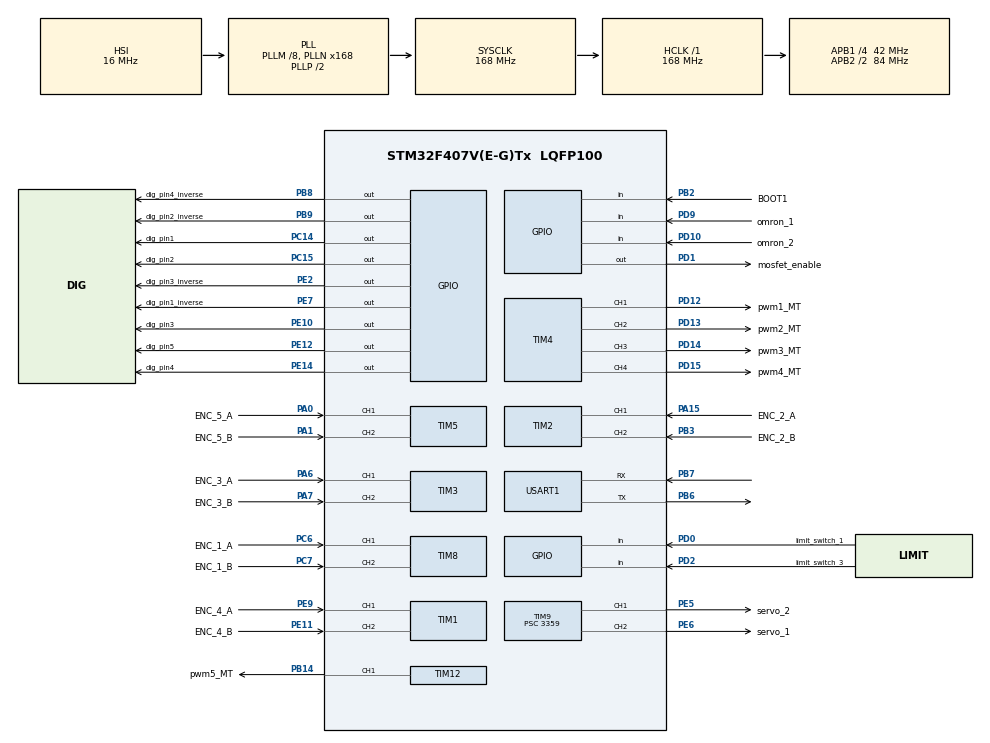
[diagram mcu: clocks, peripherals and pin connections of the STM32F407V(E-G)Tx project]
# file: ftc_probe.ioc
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Dma.Request0=USART1_RX
Dma.USART1_RX.0.Direction=DMA_PERIPH_TO_MEMORY
Dma.USART1_RX.0.FIFOMode=DMA_FIFOMODE_DISABLE
Dma.USART1_RX.0.Instance=DMA2_Stream2
Dma.USART1_RX.0.MemDataAlignment=DMA_MDATAALIGN_BYTE
Dma.USART1_RX.0.MemInc=DMA_MINC_ENABLE
Dma.USART1_RX.0.Mode=DMA_CIRCULAR
Dma.USART1_RX.0.PeriphDataAlignment=DMA_PDATAALIGN_BYTE
Dma.USART1_RX.0.PeriphInc=DMA_PINC_DISABLE
Dma.USART1_RX.0.Priority=DMA_PRIORITY_LOW
Mcu.Family=STM32F4
Mcu.Name=STM32F407V(E-G)Tx
Mcu.Package=LQFP100
NVIC.DMA2_Stream2_IRQn=true\:0\:0\:false\:false\:true\:false\:true\:true
NVIC.PriorityGroup=NVIC_PRIORITYGROUP_0
NVIC.TIM6_DAC_IRQn=true\:0\:0\:false\:false\:true\:true\:true\:true
NVIC.TIM7_IRQn=true\:0\:1\:true\:false\:true\:true\:true\:true
NVIC.USART1_IRQn=true\:0\:0\:false\:false\:true\:true\:true\:true
PA0-WKUP.GPIO_Label=ENC_5_A
PA0-WKUP.Signal=S_TIM5_CH1
PA1.GPIO_Label=ENC_5_B
PA1.Signal=S_TIM5_CH2
PA10.GPIO_Label=OTG_FS_ID
PA10.GPIO_Mode=GPIO_MODE_AF_PP
PA10.GPIO_PuPd=GPIO_NOPULL
PA10.GPIO_Speed=GPIO_SPEED_FREQ_LOW
PA10.Signal=USB_OTG_FS_ID
PA11.GPIO_Label=OTG_FS_DM
PA11.GPIO_Mode=GPIO_MODE_AF_PP
PA11.GPIO_PuPd=GPIO_NOPULL
PA11.GPIO_Speed=GPIO_SPEED_FREQ_LOW
PA11.Signal=USB_OTG_FS_DM
PA12.GPIO_Label=OTG_FS_DP
PA12.GPIO_Mode=GPIO_MODE_AF_PP
PA12.GPIO_PuPd=GPIO_NOPULL
PA12.GPIO_Speed=GPIO_SPEED_FREQ_LOW
PA12.Signal=USB_OTG_FS_DP
PA13.Signal=SYS_JTMS-SWDIO
PA14.GPIO_Label=SWCLK
PA14.Signal=SYS_JTCK-SWCLK
PA15.GPIO_Label=ENC_2_A
PA15.GPIO_PuPd=GPIO_PULLUP
PA15.Signal=S_TIM2_CH1_ETR
PA6.GPIO_Label=ENC_3_A
PA6.GPIO_PuPd=GPIO_PULLUP
PA6.Signal=S_TIM3_CH1
PA7.GPIO_Label=ENC_3_B
PA7.GPIO_PuPd=GPIO_PULLUP
PA7.Signal=S_TIM3_CH2
PA9.GPIO_Label=VBUS_FS
PA9.GPIO_Mode=GPIO_MODE_INPUT
PA9.GPIO_PuPd=GPIO_NOPULL
PA9.Signal=USB_OTG_FS_VBUS
PB14.GPIO_Label=pwm5_MT
PB14.Signal=S_TIM12_CH1
PB2.GPIO_Label=BOOT1
PB2.GPIO_Mode=GPIO_MODE_INPUT
PB2.GPIO_PuPd=GPIO_NOPULL
PB2.Signal=GPIO_Input
PB3.GPIO_Label=ENC_2_B
PB3.GPIO_PuPd=GPIO_PULLUP
PB3.Signal=S_TIM2_CH2
PB6.Mode=Asynchronous
PB6.Signal=USART1_TX
PB7.Mode=Asynchronous
PB7.Signal=USART1_RX
PB8.GPIO_Label=dig_pin4_inverse
PB8.GPIO_PuPd=GPIO_PULLUP
PB8.Signal=GPIO_Output
PB9.GPIO_Label=dig_pin2_inverse
PB9.GPIO_PuPd=GPIO_PULLUP
PB9.Signal=GPIO_Output
PC14-OSC32_IN.GPIO_Label=dig_pin1
PC14-OSC32_IN.GPIO_PuPd=GPIO_PULLUP
PC14-OSC32_IN.Signal=GPIO_Output
PC15-OSC32_OUT.GPIO_Label=dig_pin2
PC15-OSC32_OUT.GPIO_PuPd=GPIO_PULLUP
PC15-OSC32_OUT.Signal=GPIO_Output
PC6.GPIO_Label=ENC_1_A
PC6.GPIO_PuPd=GPIO_PULLUP
PC6.Signal=S_TIM8_CH1
PC7.GPIO_Label=ENC_1_B
PC7.GPIO_PuPd=GPIO_PULLUP
PC7.Signal=S_TIM8_CH2
PD0.GPIO_Label=limit_switch_1
PD0.GPIO_PuPd=GPIO_PULLDOWN
PD0.Signal=GPIO_Input
PD1.GPIO_Label=mosfet_enable
PD1.GPIO_PuPd=GPIO_PULLUP
PD1.Signal=GPIO_Output
PD10.GPIO_Label=omron_2
PD10.GPIO_PuPd=GPIO_PULLUP
PD10.Signal=GPIO_Input
PD12.GPIO_Label=pwm1_MT
PD12.GPIO_PuPd=GPIO_PULLUP
PD12.Signal=S_TIM4_CH1
PD13.GPIO_Label=pwm2_MT
PD13.GPIO_PuPd=GPIO_PULLUP
PD13.Signal=S_TIM4_CH2
PD14.GPIO_Label=pwm3_MT
PD14.GPIO_PuPd=GPIO_PULLUP
PD14.Signal=S_TIM4_CH3
PD15.GPIO_Label=pwm4_MT
PD15.GPIO_PuPd=GPIO_PULLUP
PD15.Signal=S_TIM4_CH4
PD2.GPIO_Label=limit_switch_3
PD2.GPIO_PuPd=GPIO_PULLDOWN
PD2.Signal=GPIO_Input
PD9.GPIO_Label=omron_1
PD9.GPIO_PuPd=GPIO_PULLUP
PD9.Signal=GPIO_Input
PE10.GPIO_Label=dig_pin3
PE10.GPIO_PuPd=GPIO_PULLUP
PE10.Signal=GPIO_Output
PE11.GPIO_Label=ENC_4_B
PE11.GPIO_PuPd=GPIO_PULLUP
PE11.Signal=S_TIM1_CH2
PE12.GPIO_Label=dig_pin5
PE12.Signal=GPIO_Output
PE14.GPIO_Label=dig_pin4
PE14.GPIO_PuPd=GPIO_PULLUP
PE14.Signal=GPIO_Output
PE2.GPIO_Label=dig_pin3_inverse
PE2.GPIO_PuPd=GPIO_PULLUP
PE2.Signal=GPIO_Output
PE5.GPIO_Label=servo_2
PE5.GPIO_PuPd=GPIO_PULLUP
PE5.Signal=S_TIM9_CH1
PE6.GPIO_Label=servo_1
PE6.GPIO_PuPd=GPIO_PULLUP
PE6.Signal=S_TIM9_CH2
PE7.GPIO_Label=dig_pin1_inverse
PE7.GPIO_PuPd=GPIO_PULLUP
PE7.Signal=GPIO_Output
PE9.GPIO_Label=ENC_4_A
PE9.GPIO_PuPd=GPIO_PULLUP
PE9.Signal=S_TIM1_CH1
PH0-OSC_IN.Mode=HSE-External-Oscillator
PH0-OSC_IN.Signal=RCC_OSC_IN
PH1-OSC_OUT.Mode=HSE-External-Oscillator
PH1-OSC_OUT.Signal=RCC_OSC_OUT
ProjectManager.HeapSize=0x200
ProjectManager.StackSize=0x400
ProjectManager.TargetToolchain=STM32CubeIDE
RCC.48MHZClocksFreq_Value=48000000
RCC.AHBFreq_Value=168000000
RCC.APB1CLKDivider=RCC_HCLK_DIV4
RCC.APB1Freq_Value=42000000
RCC.APB1TimFreq_Value=84000000
RCC.APB2CLKDivider=RCC_HCLK_DIV2
RCC.APB2Freq_Value=84000000
RCC.APB2TimFreq_Value=168000000
RCC.CortexFreq_Value=168000000
RCC.HCLKFreq_Value=168000000
RCC.HSE_VALUE=8000000
RCC.HSI_VALUE=16000000
RCC.LSE_VALUE=32768
RCC.PLLM=8
RCC.PLLN=168
RCC.PLLQ=7
RCC.SYSCLKFreq_VALUE=168000000
RCC.SYSCLKSource=RCC_SYSCLKSOURCE_PLLCLK
RCC.VCOOutputFreq_Value=336000000
SH.S_TIM12_CH1.0=TIM12_CH1,PWM Generation1 CH1
SH.S_TIM1_CH1.0=TIM1_CH1,Encoder_Interface
SH.S_TIM1_CH2.0=TIM1_CH2,Encoder_Interface
SH.S_TIM2_CH1_ETR.0=TIM2_CH1,Encoder_Interface
SH.S_TIM2_CH2.0=TIM2_CH2,Encoder_Interface
SH.S_TIM3_CH1.0=TIM3_CH1,Encoder_Interface
SH.S_TIM3_CH2.0=TIM3_CH2,Encoder_Interface
SH.S_TIM4_CH1.0=TIM4_CH1,PWM Generation1 CH1
SH.S_TIM4_CH2.0=TIM4_CH2,PWM Generation2 CH2
SH.S_TIM4_CH3.0=TIM4_CH3,PWM Generation3 CH3
SH.S_TIM4_CH4.0=TIM4_CH4,PWM Generation4 CH4
SH.S_TIM5_CH1.0=TIM5_CH1,Encoder_Interface
SH.S_TIM5_CH2.0=TIM5_CH2,Encoder_Interface
SH.S_TIM8_CH1.0=TIM8_CH1,Encoder_Interface
SH.S_TIM8_CH2.0=TIM8_CH2,Encoder_Interface
SH.S_TIM9_CH1.0=TIM9_CH1,PWM Generation1 CH1
SH.S_TIM9_CH2.0=TIM9_CH2,PWM Generation2 CH2
TIM10.Period=39999
TIM10.Prescaler=90
TIM11.Period=39999
TIM11.Prescaler=90
TIM12.Channel-PWM\ Generation1\ CH1=TIM_CHANNEL_1
TIM4.Channel-PWM\ Generation1\ CH1=TIM_CHANNEL_1
TIM4.Channel-PWM\ Generation2\ CH2=TIM_CHANNEL_2
TIM4.Channel-PWM\ Generation3\ CH3=TIM_CHANNEL_3
TIM4.Channel-PWM\ Generation4\ CH4=TIM_CHANNEL_4
TIM6.Period=39999
TIM6.Prescaler=21
TIM7.Period=8399
TIM7.Prescaler=10
TIM9.Channel-PWM\ Generation1\ CH1=TIM_CHANNEL_1
TIM9.Channel-PWM\ Generation2\ CH2=TIM_CHANNEL_2
TIM9.Period=999
TIM9.Prescaler=3359
USART1.VirtualMode=VM_ASYNC
VP_TIM10_VS_ClockSourceINT.Mode=Enable_Timer
VP_TIM11_VS_ClockSourceINT.Mode=Enable_Timer
VP_TIM6_VS_ClockSourceINT.Mode=Enable_Timer
VP_TIM7_VS_ClockSourceINT.Mode=Enable_Timer
board=STM32F407G-DISC1

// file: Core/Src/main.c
/* USER CODE BEGIN Header */
/**
 ******************************************************************************
 * @file           : main.c
 * @brief          : Main program body
 ******************************************************************************
 * @attention
 *
 * Copyright (c) 2023 STMicroelectronics.
 * All rights reserved.
 *
 * This software is licensed under terms that can be found in the LICENSE file
 * in the root directory of this software component.
 * If no LICENSE file comes with this software, it is provided AS-IS.
 *
 ******************************************************************************
 */
/* USER CODE END Header */
#include "main.h"
#include "dma.h"
#include "tim.h"
#include "usart.h"
#include "gpio.h"

/* USER CODE BEGIN Includes */
#include <stdbool.h>
#include <string.h>
#include <math.h>

#define DEF_PAD_DATA "0a255255255255/0b0000000000000000000/a255255255255/0b000000000000000000/\r"
#define UART_TIMEOUT 300
/* USER CODE END Includes */

/* USER CODE BEGIN PV */

PID Wheel_1;
PID Wheel_2;
PID Wheel_3;
PID Wheel_4;
PID Chain_motor;

float constatnts_test[1][3] = { { 0.1, 0.1, 0.1 }

};
float robot_matrix[3][4] = { { 1.0, 1.0, 1.0, 1.0 }, { -1.0, 1.0, -1.0, 1.0 }, {
		0.32, -0.32, -0.32, 0.32 } };
float axes_robot_matrix_inverse[4][3] = { { 0.25, -0.25, 0.78125 }, { 0.25,
		0.25, -0.78125 }, { 0.25, -0.25, -0.78125 }, { 0.25, 0.25, 0.78125 } };
float target_speed[3] = { 0.0, 0.0, 0.0 };
float speed_wheels[4] = { 0.0, 0.0, 0.0, 0.0, };
float axes_robot_matrix_transpone[3][3];
float mov_axes[3];
float now_speead[3];
float read_speed[4];
float robot_speed[3];
float delta_fi;
float speed_U;
float speed_V;
float speed_W;
float quest_xy[1][3];
float quest_UV[1][3];
float convert_xy_UV[3][3];
float inverse_converte_xy_UV[3][3];
float gipotinus;
float V = 0.05;
float W = 0.1;
float quest_FI;
float mot_grab = 0.0;
float distante;
float mot_1;
float mot_2;
float mot_3;
float mot_4;

uint8_t znamya_position;
uint8_t position = 0;
uint32_t posik = 90;
uint32_t posik_small = 55;
uint32_t posik1 = 90;
uint32_t posik_2 = 10;
uint8_t flag = 0;
bool flag_onesd = 1;
uint8_t flag_old = 0;
uint8_t flag_move_end = 0;
uint8_t flag_compleate = 0;
uint32_t autonom_timer = 0;

/* USER CODE END PV */

void SystemClock_Config(void);

/* USER CODE BEGIN 0 */

void falg_controler(void){
	if((!((flag_onesd == 0)&&(flag_move_end ==0)))&&(flag_compleate == 1)){
		flag++;

	}

	if(flag_old != flag){
		flag_old = flag;
		flag_onesd = 1;
		flag_move_end = 0;
		flag_compleate = 0;
	}

}
void state_timer(float tim){

	if(state_flag > tim){
		flag_compleate = 1;
		state_flag = 0.0;
	}

}
void set_voltage_chain(float position){
	if(-0.35 != metr_chain )set_voltage(4,mot_grab);
	if(distante < 0)set_voltage(4,-mot_grab);
}
void omron(uint8_t robot_position) { /*robot_position = 0 left , robot_position = 1 right*/
	if (robot_position == 0) { /*left robot position on place*/
		if (HAL_GPIO_ReadPin(GPIOD, GPIO_PIN_3) == GPIO_PIN_SET) { //left_omron
			znamya_position = 1;
		} else if (HAL_GPIO_ReadPin(GPIOE, GPIO_PIN_4) == GPIO_PIN_SET) { //right_omron
			znamya_position = 2;
		} else
			znamya_position = 3;

	} else { /*right robot position on place*/
		if (HAL_GPIO_ReadPin(GPIOD, GPIO_PIN_3) == GPIO_PIN_SET) { //left_omron
			znamya_position = 2;
		}

		else if (HAL_GPIO_ReadPin(GPIOE, GPIO_PIN_4) == GPIO_PIN_SET) { //right_omron
			znamya_position = 3;
		} else
			znamya_position = 1;
	}

}
typedef struct switches {
	bool mid_switch;
	bool down_switch;
	bool up_switch;
} switches;
switches switch_c;
void check_switches() {

	switch_c.mid_switch =
			(HAL_GPIO_ReadPin(GPIOD, GPIO_PIN_2) == GPIO_PIN_SET) ? 1 : 0;
	switch_c.down_switch =
			(HAL_GPIO_ReadPin(GPIOD, GPIO_PIN_1) == GPIO_PIN_SET) ? 1 : 0;
	switch_c.up_switch =
			(HAL_GPIO_ReadPin(GPIOD, GPIO_PIN_0) == GPIO_PIN_SET) ? 1 : 0;
}
void chain_control(int pos) {

	static int flag = -1;

	if (pos == flag) {
		set_voltage_chain(0.5);
		return;
	}

	switch (pos) { //0-down, 1-mid, 2-up
	case (0):
		if (!switch_c.down_switch) {
			set_voltage_chain(mot_grab);
		} else {
			flag = 0;
			set_voltage_chain(0);
		}
		break;
	case (1):
		if (!switch_c.mid_switch) {
			if (flag == 0) {
				set_voltage_chain(-mot_grab);
			} else {
				set_voltage_chain(mot_grab);
			}
			if (switch_c.up_switch && flag == 0) {
				flag = 2;
				set_voltage_chain(mot_grab);
			}
			if (switch_c.down_switch && flag == 2) {
				flag = 0;
				set_voltage_chain(-mot_grab);
			}
		} else {
			flag = 1;
			set_voltage_chain(0);
		}
		break;
	case (2):
		if (!switch_c.up_switch) {
			set_voltage_chain(-mot_grab);
		} else {
			flag = 2;

		}

	}

//
//	if(switch_c.up_switch){
//		mot_1 =
//	}
//	if(switch_c.down_switch){
//		set_voltage_chain(mot_1);
//	}
//	set_voltage_chain(mot_1);

}
void servo_control(uint8_t servo, uint8_t position) { /*position = 0 open , position = 1 close*/
	switch (servo) {
	case 0:
		if (position == 0) {
			TIM9->CCR1 = 30 + 0.5 * 90;
		} else {
			TIM9->CCR1 = 30 + 0.5 * 43;
		}
		break;
	case 1:
		if (position == 0) {
			TIM9->CCR2 = 30 + 0.5 * 120;
		} else {
			TIM9->CCR2 = 30 + 0.5 * 30;
		}
		break;
	}
}
void switch_lim(uint8_t pos) {
	switch (pos) {
	case (1):
		while (switch_c.down_switch != 1) {
			check_switches();
			position = 0;
			chain_control(0);
			Wheel_1.target = 0;
			Wheel_2.target = 0;
			Wheel_3.target = 0;
			Wheel_4.target = 0;
		}
		break;
	case (2):
		while (switch_c.mid_switch != 1) {
			check_switches();
			position = 1;
			chain_control(1);
			Wheel_1.target = 0;
			Wheel_2.target = 0;
			Wheel_3.target = 0;
			Wheel_4.target = 0;

		}
		break;
	case (3):
		position = 2;
		while (switch_c.up_switch != 1) {
			check_switches();
			pos = 2;
			chain_control(2);
			Wheel_1.target = 0;
			Wheel_2.target = 0;
			Wheel_3.target = 0;
			Wheel_4.target = 0;
		}
		break;

	}
}
void Move_robot_coordinates_X_Y_W(float speed_v, float speed_w, float x_target,float y_target, float fi_target) {
	if(flag_move_end == 0 ){
	if(flag_onesd == 1){
	V = speed_v;
	W = speed_w;
	quest_xy[0][0] = x_target;
	quest_xy[0][1] = y_target;
	quest_FI = fi_target;
	convert_xy_UV[0][0] = cos(fi);
	convert_xy_UV[0][1] = sin(fi);
	convert_xy_UV[0][2] = 0;
	convert_xy_UV[1][0] = -sin(fi);
	convert_xy_UV[1][1] = cos(fi);
	convert_xy_UV[1][2] = 0;
	convert_xy_UV[2][0] = position_x;
	convert_xy_UV[2][1] = position_y;
	convert_xy_UV[2][2] = 1;
	matrixInverse(&convert_xy_UV[0][0], 3, &inverse_converte_xy_UV[0][0]);
	matrixMultiplyM2M(&quest_xy[0][0], 1, 3, &inverse_converte_xy_UV[0][0], 3,
			3, &quest_UV[0][0]);
	gipotinus = sqrtf(
			(quest_UV[0][0] * quest_UV[0][0])
					+ (quest_UV[0][1] * quest_UV[0][1]));
	distante = gipotinus;
//	if (fi >= (2 * pi))
//		fi = fi - 2 * pi;
//	if (fi < 0.0)
//		fi = fi + 2 * pi;
//	if (quest_FI > fi) {
//		if ((quest_FI - fi) > pi) {
//			delta_fi = (2 * pi - quest_FI + fi);
//			flaging = 1;
//		} else {
//
//			delta_fi = (quest_FI - fi);
//			flaging = 2;
//		}
//
//	} else {
//		if ((fi - quest_FI) > pi) {
//			flaging = 3;
//			delta_fi = 2 * pi - fi + quest_FI;
//			;
//
//		} else {
//			flaging = 4;
//			delta_fi = fi - quest_FI;
//		}
//	}

	flag_onesd = 0;
	}
	else{
		if (((gipotinus >= 0.005) || delta_fi >= 0.02)) {
			convert_xy_UV[0][0] = cos(fi);
			convert_xy_UV[0][1] = sin(fi);
			convert_xy_UV[0][2] = 0;
			convert_xy_UV[1][0] = -sin(fi);
			convert_xy_UV[1][1] = cos(fi);
			convert_xy_UV[1][2] = 0;
			convert_xy_UV[2][0] = position_x;
			convert_xy_UV[2][1] = position_y;
			convert_xy_UV[2][2] = 1;
			matrixInverse(&convert_xy_UV[0][0], 3, &inverse_converte_xy_UV[0][0]);
			matrixMultiplyM2M(&quest_xy[0][0], 1, 3, &inverse_converte_xy_UV[0][0],
					3, 3, &quest_UV[0][0]);
			gipotinus = sqrtf(
					(quest_UV[0][0] * quest_UV[0][0])
							+ (quest_UV[0][1] * quest_UV[0][1]));
			if (gipotinus > 0.005) {
				if (gipotinus < 0.15) {
					target_speed[0] = quest_UV[0][0] / gipotinus * V
							* (0.4 + (0.6 * gipotinus) / 0.25);
					target_speed[1] = quest_UV[0][1] / gipotinus * V
							* (0.4 + (0.6 * gipotinus) / 0.25);
				} else if (distante - gipotinus < 0.15) {

					target_speed[0] = quest_UV[0][0] / gipotinus * V
							* (0.4 + (0.6 * (distante - gipotinus)) / 0.25);
					target_speed[1] = quest_UV[0][1] / gipotinus * V
							* (0.4 + (0.6 * (distante - gipotinus)) / 0.25);

				} else {
					target_speed[0] = quest_UV[0][0] / gipotinus * V;
					target_speed[1] = quest_UV[0][1] / gipotinus * V;
				}
			} else {
				target_speed[0] = 0.0;
				target_speed[1] = 0.0;
			}
			if (delta_fi > 0.02) {
				switch (flaging) {
				case (1):{
					target_speed[2] = W;
					break;
				}
				case (2):{
					target_speed[2] = -W;
					break;
				}
				case (3):{
					target_speed[2] = -W;
					break;
				}

				case (4):{
					target_speed[2] = W;
					break;
				}
				}

			} else
				target_speed[2] = 0.0;

			matrixMultiplyM2M(&target_speed[0], 1, 3, &robot_matrix[0][0], 3, 4,
					&speed_wheels[0]);
			now_speead[0] = result_speed_1;
			now_speead[1] = result_speed_2;
			now_speead[2] = result_speed_3;
			read_speed[0] = result_speed_0;
			read_speed[1] = result_speed_1;
			read_speed[2] = result_speed_2;
			read_speed[3] = result_speed_3;
			matrixMultiplyM2M(&read_speed[0], 1, 4,
					&axes_robot_matrix_inverse[0][0], 4, 3, &robot_speed[0]);

			Wheel_1.target = speed_wheels[0];
			Wheel_2.target = speed_wheels[1];
			Wheel_3.target = speed_wheels[2];
			Wheel_4.target = speed_wheels[3];
			speed_U = robot_speed[0];
			speed_V = robot_speed[1];
			speed_W = robot_speed[2];

		}
		else{
			flag_move_end = 1;
				speed_U = 0;
		speed_V = 0;
		speed_W = 0;
		Wheel_1.target = 0;
		Wheel_2.target = 0;
		Wheel_3.target = 0;
		Wheel_4.target = 0;
		}
	}

	}

}
typedef struct gamepad {
	int axes[4];
	bool buttons[20];
} gamepad;
gamepad pads[2];
uint8_t rx_data[1];
uint8_t temp_data[100];
char data[100];
uint8_t size_data = 0;
uint8_t ind_data = 0;
bool write_data = 0;
uint8_t check_sum;
uint32_t timer = 0;
float move_axes[4];
void convertData(char *data) {
	bool now; // 1 - axes, 0 - buttons
	uint8_t pad;
	if (!(data[1] == 'a' || data[1] == 'b' || data[size_data - 1] == '\r')) {
		return;
	}
	for (int i = 1; data[i] != '\r'; i++) {
		if (data[i] == '\r')
			break;
		if (data[i] == 'a' || data[i] == 'b') {
			now = data[i] == 'a' ? 1 : 0;
			pad = data[i - 1] - 48;
			continue;
		}
		for (int j = 0; data[i - 1] != '/';) {
			if (data[i] == '/' || data[i - 1] == '/')
				break;
			if (now) {
				pads[pad].axes[j] = (data[i] - 48) * 100
						+ (data[i + 1] - 48) * 10 + (data[i + 2] - 48);
				j++;
				i += 3;
			} else if (!now) {
				pads[pad].buttons[j] = data[i] - 48;
				j++;
				i++;
			}
		}
	}
}
void HAL_UART_RxCpltCallback(UART_HandleTypeDef *huart) {

	if (rx_data[0] == '%') {
		check_sum = 0;
		write_data = 1;
		ind_data = 0;
		size_data = 0;
	}

	if (write_data) {

		temp_data[ind_data] = rx_data[0];

		if (ind_data == 3) {
			size_data = (temp_data[1] - 48) * 100 + (temp_data[2] - 48) * 10
					+ (temp_data[3] - 48);
		}
		if (ind_data <= size_data - 4 || ind_data <= 3) {
			check_sum += rx_data[0];
		}

		ind_data++;
	}
	if (ind_data >= 99) {
		check_sum = 0;
		write_data = 0;
		ind_data = 0;
		size_data = 0;
	}
	if (ind_data == size_data) {
		HAL_GetTick();
	}
	if (rx_data[0] == '\r') {

		//size_data = (temp_data[1] - 48) * 100 + (temp_data[2] - 48) * 10 + (temp_data[3] - 48);
		uint8_t check_sum_data = (temp_data[size_data - 3] - 48) * 100
				+ (temp_data[size_data - 2] - 48) * 10
				+ (temp_data[size_data - 1] - 48);
		write_data = 0;
		if (check_sum == check_sum_data && ind_data == size_data + 1) {
			timer = HAL_GetTick();
			memcpy(data, &temp_data[5], size_data);
			data[size_data - 8] = '\r';
		}
	}
}
bool autonom_flag = false;
void convert_chushpan(void) {
	if (HAL_GetTick() - timer >= UART_TIMEOUT) {
		memcpy(data, DEF_PAD_DATA, 74);
	}

	HAL_UART_Receive_DMA(&huart1, rx_data, 1);

	convertData((char*) data);

	for (int i = 0; i < 4; i++) {
		move_axes[i] =
				i % 2 == 0 ?
						(double) ((pads[0].axes[i]) - 256.0f) / 256.0f :
						(double) ((pads[0].axes[i]) - 256.0f) / -256.0f;
		move_axes[i] /= pads[0].buttons[7] ? 2 : 1;
		if (move_axes[i] >= -0.2 && move_axes[i] <= 0.2)
			move_axes[i] = 0.0f;

	}
	move_axes[2] *= -1;

	if (pads[0].buttons[8] && pads[0].buttons[9] && pads[1].buttons[8]
			&& pads[1].buttons[9]) {
		if (!autonom_flag) {
			autonom_timer = HAL_GetTick();
		}

		autonom_flag = true;

	} else {
		autonom_flag = false;
	}
}
void convert_typedef(void) {

	Wheel_1.motor = 0;
	Wheel_1.target = 0.0;
	Wheel_1.current = 0;
	Wheel_1.Kp = 14;
	Wheel_1.Ki = 1;
	Wheel_1.Kd = 0.1;
	Wheel_1.wh_L = 0.0;

	Wheel_2.motor = 1;
	Wheel_2.target = 0.0;
	Wheel_2.current = 0;
	Wheel_2.Kp = 14;
	Wheel_2.Ki = 1;
	Wheel_2.Kd = 0.1;
	Wheel_2.wh_L = 0.0;

	Wheel_3.motor = 2;
	Wheel_3.target = 0.0;
	Wheel_3.current = 0;
	Wheel_3.Kp = 14;
	Wheel_3.Ki = 1;
	Wheel_3.Kd = 0.1;
	Wheel_3.wh_L = 0.0;

	Wheel_4.motor = 3;
	Wheel_4.target = 0.0;
	Wheel_4.current = 0;
	Wheel_4.Kp = 14;
	Wheel_4.Ki = 1;
	Wheel_4.Kd = 0.1;
	Wheel_4.wh_L = 0.0;

	Chain_motor.motor = 4;
	Chain_motor.target = 0.0;
	Chain_motor.current = 0;
	Chain_motor.Kp = 2;
	Chain_motor.Ki = 0.0025;
	Chain_motor.Kd = 1.0;
	Chain_motor.wh_L = 0.0;
}
void control_mod(void) {
	if (!autonom_flag) {
		check_switches();
		convert_chushpan();
		enum {
			A_BUTTON,
			B_BUTTON,
			X_BUTTON,
			Y_BUTTON,
			LB_BUTTON,
			RB_BUTTON,
			LT_BUTTON,
			RT_BUTTON,
			BACK_BUTTON,
			START_BUTTON,
			L3_BUTTON,
			R3_BUTTON,
			UP_BUTTON,
			DOWN_BUTTON,
			LEFT_BUTTON,
			RIGHT_BUTTON,
			XBOX_BUTTON
		};

		target_speed[0] = move_axes[0] / 2;
		target_speed[1] = move_axes[1] / 2;
		target_speed[2] = move_axes[2] * 1.5;

		matrixMultiplyM2M(&target_speed[0], 1, 3, &robot_matrix[0][0], 3, 4,
				&speed_wheels[0]);

		Wheel_1.target = speed_wheels[0];
		Wheel_2.target = speed_wheels[1];
		Wheel_3.target = speed_wheels[2];
		Wheel_4.target = speed_wheels[3];

		now_speead[0] = result_speed_1;
		now_speead[1] = result_speed_2;
		now_speead[2] = result_speed_3;

		read_speed[0] = result_speed_0;
		read_speed[1] = result_speed_1;
		read_speed[2] = result_speed_2;
		read_speed[3] = result_speed_3;

		matrixMultiplyM2M(&read_speed[0], 1, 4,
				&axes_robot_matrix_inverse[0][0], 4, 3, &robot_speed[0]);

		if (pads[0].buttons[A_BUTTON]) {
			servo_control(1, 1);

		}
		if (pads[0].buttons[B_BUTTON]) {
			servo_control(1, 0);

		}
		if (pads[0].buttons[X_BUTTON]) {
			servo_control(0, 1);

		}
		if (pads[0].buttons[Y_BUTTON]) {
			servo_control(0, 0);

		}
		if (pads[0].buttons[LB_BUTTON]) {
			position = 0;
			chain_control(position);
		}
		if (pads[0].buttons[LT_BUTTON]) {
			position = 1;
			chain_control(position);
		}
		if (pads[0].buttons[RB_BUTTON]) {
			position = 2;
			chain_control(position);
		}
		chain_control(position);
	}
}
void set_voltage(uint8_t motor, float duty) {
	if (duty > 1.0)
		duty = 1.0;
	if (duty < -1.0)
		duty = -1.0;
	switch (motor) {
	case 0:
		if (duty >= 0.0) {
			TIM4->CCR1 = ((int32_t) (TIM4->ARR * duty));
			HAL_GPIO_WritePin(GPIOC, GPIO_PIN_14, GPIO_PIN_RESET);
			HAL_GPIO_WritePin(GPIOE, GPIO_PIN_7, GPIO_PIN_SET);

		} else {
			TIM4->CCR1 = ((int32_t) (-(TIM4->ARR * duty)));
			HAL_GPIO_WritePin(GPIOC, GPIO_PIN_14, GPIO_PIN_SET);
			HAL_GPIO_WritePin(GPIOE, GPIO_PIN_7, GPIO_PIN_RESET);
		}
		break;
	case 1:
		if (duty >= 0.0) {
			TIM4->CCR2 = ((int32_t) (TIM4->ARR * duty));
			HAL_GPIO_WritePin(GPIOC, GPIO_PIN_15, GPIO_PIN_RESET);
			HAL_GPIO_WritePin(GPIOB, GPIO_PIN_9, GPIO_PIN_SET);

		} else {
			TIM4->CCR2 = ((int32_t) (-(TIM4->ARR * duty)));
			HAL_GPIO_WritePin(GPIOC, GPIO_PIN_15, GPIO_PIN_SET);
			HAL_GPIO_WritePin(GPIOB, GPIO_PIN_9, GPIO_PIN_RESET);
		}
		break;
	case 2:
		if (duty >= 0.0) {
			TIM4->CCR3 = ((int32_t) (TIM4->ARR * duty));
			HAL_GPIO_WritePin(GPIOE, GPIO_PIN_10, GPIO_PIN_RESET);
			HAL_GPIO_WritePin(GPIOE, GPIO_PIN_2, GPIO_PIN_SET);
		} else {
			TIM4->CCR3 = ((int32_t) (-(TIM4->ARR * duty)));
			HAL_GPIO_WritePin(GPIOE, GPIO_PIN_10, GPIO_PIN_SET);
			HAL_GPIO_WritePin(GPIOE, GPIO_PIN_2, GPIO_PIN_RESET);
		}
		break;
	case 3:
		if (duty >= 0.0) {
			TIM4->CCR4 = ((int32_t) (TIM4->ARR * duty));
			HAL_GPIO_WritePin(GPIOE, GPIO_PIN_14, GPIO_PIN_RESET);
			HAL_GPIO_WritePin(GPIOB, GPIO_PIN_8, GPIO_PIN_SET);
		} else {
			TIM4->CCR4 = ((int32_t) (-(TIM4->ARR * duty)));
			HAL_GPIO_WritePin(GPIOE, GPIO_PIN_14, GPIO_PIN_SET);
			HAL_GPIO_WritePin(GPIOB, GPIO_PIN_8, GPIO_PIN_RESET);
		}
		break;
	case 4:
			 if(duty >= 0.0)  {
				 TIM12->CCR1 = ((int32_t)(TIM12->ARR * duty));
				 HAL_GPIO_WritePin(GPIOE, GPIO_PIN_12, GPIO_PIN_RESET);
		  }
			 else {
				 TIM12->CCR1 = ((int32_t)(TIM12->ARR + (TIM12->ARR * duty)));
			 	 HAL_GPIO_WritePin(GPIOE, GPIO_PIN_12, GPIO_PIN_SET);  }
		}

}
void PID_Controller(PID *reg) {

	reg->error = reg->target - reg->current;

	reg->sum_error += reg->error;
	if (reg->sum_error > 1)
		reg->sum_error = 1;
	if (reg->sum_error < -1)
		reg->sum_error = -1;

	reg->P = reg->Kp * reg->error;
	reg->I = reg->Ki * reg->sum_error;
	reg->dif_error = reg->error - reg->old_error;
	reg->D = reg->Kd * reg->dif_error;
	reg->output = reg->P + reg->I + reg->D;
	set_voltage(reg->motor, reg->output);
	reg->old_error = reg->error;
}
void matrixCopy(float *m, char rows, char columns, float *new_m) {
	char i, j;

	for (i = 0; i < rows; i++)
		for (j = 0; j < columns; j++)
			*(new_m + columns * i + j) = *(m + columns * i + j);
}
void matrixSetCell(float *m, char rows, char columns, char row, char column,
		float val) {
	*(m + columns * (row - 1) + column - 1) = val;
}
void matrixFill(float *m, char rows, char columns, float val) {
	char i, j;

	for (i = 0; i < rows; i++)
		for (j = 0; j < columns; j++)
			*(m + columns * i + j) = val;
}
float matrixGetCell(float *m, char rows, char columns, char row, char column) {
	return *(m + columns * (row - 1) + column - 1);
}
void matrixMultiplyM2M(float *m1, char rows1, char columns1, float *m2,
		char rows2, char columns2, float *new_m) {
	float Sum;
	char i, j, k;

	if (columns1 != rows2)
		*new_m = 0;
	else {
		for (i = 0; i < rows1; i++)
			for (j = 0; j < columns2; j++) {
				Sum = 0;
				for (k = 0; k < columns1; k++)
					Sum += (*(m1 + columns1 * i + k))
							* (*(m2 + columns2 * k + j));
				*(new_m + columns2 * i + j) = Sum;
			}
	}
}
void matrixMultiplyS2M(float *m, char rows, char columns, float s, float *new_m) {
	char i, j;

	for (i = 0; i < rows; i++)
		for (j = 0; j < columns; j++)
			*(new_m + i * columns + j) = (*(m + i * columns + j)) * s;
}
void matrixPlusMinus(float *m1, float *m2, char rows, char columns,
		signed char sign, float *new_m) {
	char i, j;

	if (sign >= 0) {
		for (i = 0; i < rows; i++)
			for (j = 0; j < columns; j++)
				*(new_m + i * columns + j) = (*(m1 + i * columns + j))
						+ (*(m2 + i * columns + j));
	} else {
		for (i = 0; i < rows; i++)
			for (j = 0; j < columns; j++)
				*(new_m + i * columns + j) = (*(m1 + i * columns + j))
						- (*(m2 + i * columns + j));
	}
}
void matrixTranspose(float *m, char rows, char columns, float *new_m) {
	char i, j;
	for (i = 0; i < rows; i++)
		for (j = 0; j < columns; j++)
			*(new_m + j * rows + i) = *(m + i * columns + j);
}
void matrixCofactor(float *m, char size, float *new_m) {
//float *buf1 = malloc(sizeof(float) * (size-1) * (size-1));
	float bufxx[10][10];
	float *buf1 = (float*) bufxx;
	char i = 0, j = 0, k = 0, l = 0, c = 0, d = 0;
	signed char sign;

	while (i < size) {
		j = 0;
		while (j < size) {
			k = 0;
			c = 0;
			if (((i + j) % 2) == 0)
				sign = 1;
			else
				sign = -1;

			while (k < (size - 1)) {
				if (c == i)
					c++;
				l = 0;
				d = 0;
				while (l < (size - 1)) {
					if (d == j)
						d++;
					*(buf1 + (size - 1) * k + l) = *(m + size * c + d);
					l++;
					d++;
				}
				k++;
				c++;
			}
			matrixDet_LU_Transform(buf1, size - 1, (new_m + size * i + j));
			*(new_m + size * i + j) *= sign;
			j++;
		}
		i++;
	}
}
void matrixInverse(float *m, char size, float *new_m) {
	float buf1[4][4]; // = malloc(sizeof(float) * size * size);
	float buf2[4][4]; //= malloc(sizeof(float) * size * size);
	float buf;
	float buf3[3][3];
	float det;
	matrixDet_LU_Transform(m, size, &det);
	char i, j;

	matrixCofactor(m, size, &buf1[0][0]);
	matrixTranspose(&buf1[0][0], size, size, &buf2[0][0]);

	for (i = 1; i <= size; i++)
		for (j = 1; j <= size; j++) {
			buf = matrixGetCell(&buf1[0][0], size, size, i, j) / det;
			matrixSetCell((float*) buf3, size, size, i, j, buf);
		}
	matrixTranspose(&buf3[0][0], size, size, new_m);
}
void matrixDet_LU_Transform(float *A, char n, float *out) //необходимо задать и�?ходную матрицу и переменную дл�? LU-матрицы
{
	float temp = 0; //, *LU = malloc(sizeof(float) * n * n);
	float LU_[3][3];
	float *LU = (float*) LU_;
	char i, j, k;
	for (j = 0; j < n; j++) {
		*(LU + j) = *(A + j);
		if (j >= 1)
			*(LU + j * n) = *(A + j * n) / (*LU);
	}
	for (i = 1; i < n; i++) {
		for (j = i; j < n; j++) {
			for (k = 0; k <= (i - 1); k++)
				temp += (*(LU + n * i + k)) * (*(LU + k * n + j));
			*(LU + i * n + j) = *(A + i * n + j) - temp;
			temp = 0;
		}
		for (j = i + 1; j < n; j++) {
			for (k = 0; k <= (i - 1); k++)
				temp += (*(LU + j * n + k)) * (*(LU + k * n + i));
			*(LU + j * n + i) = ((*(A + j * n + i)) - temp)
					/ (*(LU + i * n + i));
			temp = 0;
		}
	}
	temp = 1;
	for (i = 0; i < n; i++)
		temp *= *(LU + i * n + i);
	*out = temp;
}

/* USER CODE END 0 */

int main(void)
{
  /* USER CODE BEGIN 1 */
	convert_typedef();

  /* USER CODE END 1 */

  /* MCU Configuration--------------------------------------------------------*/

  /* Reset of all peripherals, Initializes the Flash interface and the Systick. */
  HAL_Init();

  /* Configure the system clock */
  SystemClock_Config();

  /* Initialize all configured peripherals */
  MX_GPIO_Init();
  MX_DMA_Init();
  MX_TIM4_Init();
  MX_TIM3_Init();
  MX_TIM1_Init();
  MX_TIM2_Init();
  MX_TIM8_Init();
  MX_TIM7_Init();
  MX_TIM6_Init();
  MX_USART1_UART_Init();
  MX_TIM10_Init();
  MX_TIM11_Init();
  MX_TIM9_Init();
  MX_TIM12_Init();
  MX_TIM5_Init();
  /* USER CODE BEGIN 2 */
	HAL_TIM_PWM_Start(&htim4, TIM_CHANNEL_1);
	HAL_TIM_PWM_Start(&htim4, TIM_CHANNEL_2);
	HAL_TIM_PWM_Start(&htim4, TIM_CHANNEL_3);
	HAL_TIM_PWM_Start(&htim4, TIM_CHANNEL_4);
	HAL_TIM_PWM_Start(&htim9, TIM_CHANNEL_1);
	HAL_TIM_PWM_Start(&htim9, TIM_CHANNEL_2);
	HAL_TIM_PWM_Start(&htim12, TIM_CHANNEL_1);

	HAL_TIM_Encoder_Start(&htim8, TIM_CHANNEL_ALL);
	HAL_TIM_Encoder_Start(&htim2, TIM_CHANNEL_ALL);
	HAL_TIM_Encoder_Start(&htim3, TIM_CHANNEL_ALL);
	HAL_TIM_Encoder_Start(&htim1, TIM_CHANNEL_ALL);
	HAL_TIM_Encoder_Start(&htim5, TIM_CHANNEL_ALL);
	HAL_TIM_Base_Start_IT(&htim6);

	HAL_UART_Receive_DMA(&huart1, rx_data, 1);
	target_speed[0] = 0;
	target_speed[1] = 0;
	target_speed[2] = 0;
	quest_xy[0][0] = 0;
	quest_xy[0][1] = 0;
	quest_xy[0][2] = 1;

	////////////////////

/////////////////

  /* USER CODE END 2 */

  /* Infinite loop */
  /* USER CODE BEGIN WHILE */
	while (1) {

//set_voltage(0,mot_1);
//set_voltage(1,mot_2);
//set_voltage(2,mot_3);
//set_voltage(3,mot_4);

		autonom_flag = 1;
	switch(flag){
	case (0):{
		servo_control(0,0);
		servo_control(0,0);
		void HAL_UART_RxCpltCallback(UART_HandleTypeDef *huart)
		{

		}

		if (autonom_flag) {
			flag_compleate = 1;
		}
		break;
	}

	case(1):
		{

			omron(1);
			servo_control(1,1);
			state_timer(20);
						break;

	}
	case(2):{
				Move_robot_coordinates_X_Y_W(0.2, 0.2, 1, 1, 0.0);
				flag_compleate = 1;
				break;
	}

	case(3):{
				Move_robot_coordinates_X_Y_W(0.25, 0.7, 0.03, 2.1, 3.3);
				flag_compleate = 1;
				break;
	}

	}
	falg_controler();

//		void HAL_UART_RxCpltCallback(UART_HandleTypeDef *huart)
//		{
//
//		}
//		if (autonom_flag) {
//			convert_chushpan();
//			omron(1);
//			position = 0;
//			//switch_lim(1);
//			servo_control(0, 0);
//			servo_control(1, 0);
//			HAL_Delay(500);
//			servo_control(0, 1);
//			HAL_Delay(300);
//			switch_lim(2);
//			Move_robot_coordinates_X_Y_W(0.25, 0.7, -0.06, 0.9, 0.0);
//			Move_robot_coordinates_X_Y_W(0.25, 0.7, 0.03, 2.1, 3.3);
//			HAL_Delay(300);
//			servo_control(1, 1);
//			fi = 3.14;
//			Move_robot_coordinates_X_Y_W(0.25, 0.7, -0.22, 2.03, 3.93);
//			Move_robot_coordinates_X_Y_W(0.25, 0.7, -1.22, 0.35, 5.7);
//			servo_control(1, 0);
//			switch_lim(3);
//			HAL_Delay(250);
//			servo_control(0, 0);
//
//			switch (znamya_position) {
//			case (1):
//				Move_robot_coordinates_X_Y_W(0.35, 0.2, -1.4, 1.66, 6.28);
//
//				break;
//
//			case (2):
//				Move_robot_coordinates_X_Y_W(0.35, 0.3, -0.22, 1.13, 5.7);
//
//				break;
//			case (3):
//				break;
//			}
//
//		}
//		while (autonom_flag) {
//			convert_chushpan();
//			Wheel_1.target = 0;
//			Wheel_2.target = 0;
//			Wheel_3.target = 0;
//			Wheel_4.target = 0;
//		}
//
//		control_mod();
	}

    /* USER CODE END WHILE */

}

void SystemClock_Config(void)
{
  RCC_OscInitTypeDef RCC_OscInitStruct = {0};
  RCC_ClkInitTypeDef RCC_ClkInitStruct = {0};

  /** Configure the main internal regulator output voltage
  */
  __HAL_RCC_PWR_CLK_ENABLE();
  __HAL_PWR_VOLTAGESCALING_CONFIG(PWR_REGULATOR_VOLTAGE_SCALE1);

  /** Initializes the RCC Oscillators according to the specified parameters
  * in the RCC_OscInitTypeDef structure.
  */
  RCC_OscInitStruct.OscillatorType = RCC_OSCILLATORTYPE_HSI;
  RCC_OscInitStruct.HSIState = RCC_HSI_ON;
  RCC_OscInitStruct.HSICalibrationValue = RCC_HSICALIBRATION_DEFAULT;
  RCC_OscInitStruct.PLL.PLLState = RCC_PLL_ON;
  RCC_OscInitStruct.PLL.PLLSource = RCC_PLLSOURCE_HSI;
  RCC_OscInitStruct.PLL.PLLM = 8;
  RCC_OscInitStruct.PLL.PLLN = 168;
  RCC_OscInitStruct.PLL.PLLP = RCC_PLLP_DIV2;
  RCC_OscInitStruct.PLL.PLLQ = 7;
  if (HAL_RCC_OscConfig(&RCC_OscInitStruct) != HAL_OK)
  {
    Error_Handler();
  }

  /** Initializes the CPU, AHB and APB buses clocks
  */
  RCC_ClkInitStruct.ClockType = RCC_CLOCKTYPE_HCLK|RCC_CLOCKTYPE_SYSCLK
                              |RCC_CLOCKTYPE_PCLK1|RCC_CLOCKTYPE_PCLK2;
  RCC_ClkInitStruct.SYSCLKSource = RCC_SYSCLKSOURCE_PLLCLK;
  RCC_ClkInitStruct.AHBCLKDivider = RCC_SYSCLK_DIV1;
  RCC_ClkInitStruct.APB1CLKDivider = RCC_HCLK_DIV4;
  RCC_ClkInitStruct.APB2CLKDivider = RCC_HCLK_DIV2;

  if (HAL_RCC_ClockConfig(&RCC_ClkInitStruct, FLASH_LATENCY_5) != HAL_OK)
  {
    Error_Handler();
  }
}

void Error_Handler(void)
{
	__disable_irq();
	while (1) {
	}
}
